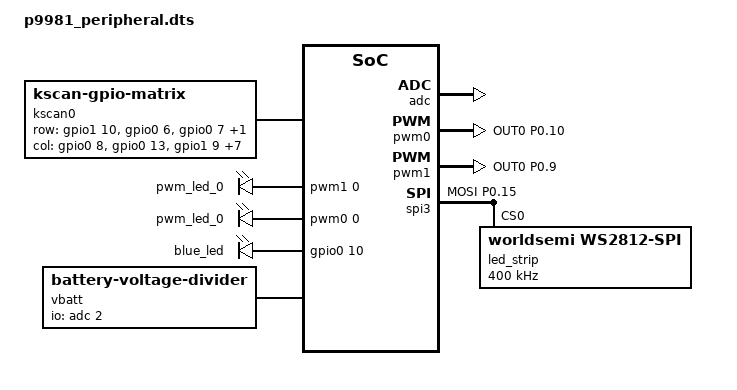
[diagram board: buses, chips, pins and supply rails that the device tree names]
/*
*
* Copyright (c) 2021 Darryl deHaan
* SPDX-License-Identifier: MIT
*
*/

#include "central.dtsi"

/ {
    chosen {
        zmk,backlight = &backlight;
        zmk,underglow = &led_strip;
        zmk,battery = &vbatt;
        zmk,keyboard_backlight = &keyboard_backlight;
    };

    kscan0: kscan {
        compatible = "zmk,kscan-gpio-matrix";
        diode-direction = "col2row";
        row-gpios
            = <&gpio1 10 (GPIO_ACTIVE_HIGH | GPIO_PULL_DOWN)>
            , <&gpio0 6  (GPIO_ACTIVE_HIGH | GPIO_PULL_DOWN)>
            , <&gpio0 7 (GPIO_ACTIVE_HIGH | GPIO_PULL_DOWN)>
            , <&gpio1 13  (GPIO_ACTIVE_HIGH | GPIO_PULL_DOWN)>
            ;
        col-gpios
            = <&gpio0 8  GPIO_ACTIVE_HIGH>
            , <&gpio0 13 GPIO_ACTIVE_HIGH>
            , <&gpio1 9  GPIO_ACTIVE_HIGH>
            , <&gpio0 11 GPIO_ACTIVE_HIGH>
            , <&gpio1 11 GPIO_ACTIVE_HIGH>
            , <&gpio0 29 GPIO_ACTIVE_HIGH>
            , <&gpio0 31 GPIO_ACTIVE_HIGH>
            , <&gpio0 30 GPIO_ACTIVE_HIGH>
            , <&gpio0 28 GPIO_ACTIVE_HIGH>
            , <&gpio0 3 GPIO_ACTIVE_HIGH>
            ;
    };

    keyboard_backlight: pwmledfo{
        compatible = "pwm-leds";
        pwm_led_0 {
            pwms = <&pwm1 0 PWM_USEC(20) PWM_POLARITY_NORMAL>;
        };
    };

    backlight: pwmleds {
        compatible = "pwm-leds";
        pwm_led_0 {
            pwms = <&pwm0 0 PWM_MSEC(10) PWM_POLARITY_NORMAL>;
        };
    };


    leds {
        compatible = "gpio-leds";
        blue_led: led_0 {
            gpios = <&gpio0 10 GPIO_ACTIVE_HIGH>;
        };
    };

    // Node name must match original "EXT_POWER" label to preserve user settings.
    vbatt: vbatt {
        compatible = "zmk,battery-voltage-divider";
        io-channels = <&adc 2>;
        output-ohms = <2000000>;
        full-ohms = <2820000>;  // 2000000 + 820000
    };


};

&default_transform {
    col-offset = <1>;
};

&adc {
    status = "okay";
};

&gpiote {
    status = "okay";
};

&gpio0 {
    status = "okay";
};

&gpio1 {
    status = "okay";
};

&pwm0 {
    status = "okay";
    pinctrl-0 = <&pwm0_default>;
    pinctrl-1 = <&pwm0_sleep>;
    pinctrl-names = "default", "sleep";
};

&pwm1 {
    status = "okay";
    pinctrl-0 = <&pwm1_default>;
    pinctrl-1 = <&pwm1_sleep>;
    pinctrl-names = "default", "sleep";
};


&spi3 {
    compatible = "nordic,nrf-spim";
    status = "okay";

    pinctrl-0 = <&spi3_default>;
    pinctrl-1 = <&spi3_sleep>;
    pinctrl-names = "default", "sleep";

    led_strip: ws2812@0 {
        compatible = "worldsemi,ws2812-spi";
        /* SPI */
        reg = <0>; /* ignored, but necessary for SPI bindings */
        spi-max-frequency = <400000>;
        /* WS2812 */
        chain-length = <1>; /* number of LEDs */
        spi-one-frame = <0x70>;
        spi-zero-frame = <0x40>;
        color-mapping = <LED_COLOR_ID_GREEN
                         LED_COLOR_ID_RED
                         LED_COLOR_ID_BLUE>;
    };
};
/*
 * Copyright (c) 2025 ZitaoTech
 * SPDX-License-Identifier: MIT
 */

&pinctrl {

    spi3_default: spi3_default {
        group1 {
            psels = <NRF_PSEL(SPIM_MOSI, 0, 15)>;    // Setting for RGB light, unreal
        };
    };

    spi3_sleep: spi3_sleep {
        group1 {
            psels = <NRF_PSEL(SPIM_MOSI, 0, 15)>;
            low-power-enable;
        };
    };

    pwm0_default:pwm0_default{
        group1{
            psels = <NRF_PSEL(PWM_OUT0, 0, 10)>; // Backlight for backlight.c unreal
        };
    };

    pwm0_sleep: pwm0_sleep {
        group1 {
            psels = <NRF_PSEL(PWM_OUT0, 0, 10)>;
            bias-pull-down;
        };
    };

    pwm1_default:pwm1_default{
        group1{
            psels = <NRF_PSEL(PWM_OUT0, 0, 9)>; // Backlight for Keyboard
        };
    };

    pwm1_sleep: pwm1_sleep {
        group1 {
            psels = <NRF_PSEL(PWM_OUT0, 0, 9)>;
            bias-pull-down;
        };
    };

};
